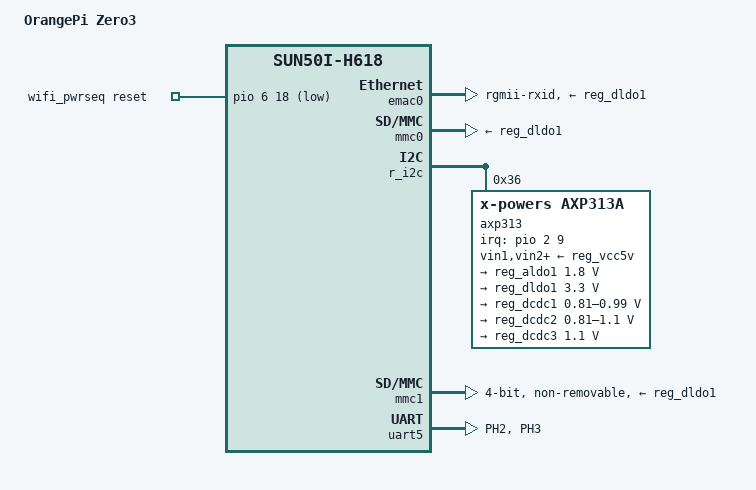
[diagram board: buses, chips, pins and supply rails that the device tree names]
// SPDX-License-Identifier: (GPL-2.0+ OR MIT)
/*
 * Copyright (C) 2023 Arm Ltd.
 */

/dts-v1/;

#include "allwinner/sun50i-h616-orangepi-zero.dtsi"
#include <dt-bindings/clock/sun6i-rtc.h>

/ {
	model = "OrangePi Zero3";
	compatible = "xunlong,orangepi-zero3", "allwinner,sun50i-h618";

	wifi_pwrseq: wifi-pwrseq {
		compatible = "mmc-pwrseq-simple";
		clocks = <&rtc CLK_OSC32K_FANOUT>;
		clock-names = "ext_clock";
		reset-gpios = <&pio 6 18 GPIO_ACTIVE_LOW>; /* PG18 */
		post-power-on-delay-ms = <200>;
	};
};

&emac0 {
	allwinner,tx-delay-ps = <700>;
	phy-mode = "rgmii-rxid";
	phy-supply = <&reg_dldo1>;
};

&ext_rgmii_phy {
	motorcomm,clk-out-frequency-hz = <125000000>;
};

&mmc0 {
	/*
	 * The schematic shows the card detect pin wired up to PF6, via an
	 * inverter, but it just doesn't work.
	 */
	broken-cd;
	vmmc-supply = <&reg_dldo1>;
};

&r_i2c {
	status = "okay";

	axp313: pmic@36 {
		compatible = "x-powers,axp313a";
		reg = <0x36>;
		#interrupt-cells = <1>;
		interrupt-controller;
		interrupt-parent = <&pio>;
		interrupts = <2 9 IRQ_TYPE_LEVEL_LOW>;	/* PC9 */

		vin1-supply = <&reg_vcc5v>;
		vin2-supply = <&reg_vcc5v>;
		vin3-supply = <&reg_vcc5v>;

		regulators {
			/* Supplies VCC-PLL, so needs to be always on. */
			reg_aldo1: aldo1 {
				regulator-always-on;
				regulator-min-microvolt = <1800000>;
				regulator-max-microvolt = <1800000>;
				regulator-name = "vcc1v8";
			};

			/* Supplies VCC-IO, so needs to be always on. */
			reg_dldo1: dldo1 {
				regulator-always-on;
				regulator-min-microvolt = <3300000>;
				regulator-max-microvolt = <3300000>;
				regulator-name = "vcc3v3";
			};

			reg_dcdc1: dcdc1 {
				regulator-always-on;
				regulator-min-microvolt = <810000>;
				regulator-max-microvolt = <990000>;
				regulator-name = "vdd-gpu-sys";
			};

			reg_dcdc2: dcdc2 {
				regulator-always-on;
				regulator-min-microvolt = <810000>;
				regulator-max-microvolt = <1100000>;
				regulator-name = "vdd-cpu";
			};

			reg_dcdc3: dcdc3 {
				regulator-always-on;
				regulator-min-microvolt = <1100000>;
				regulator-max-microvolt = <1100000>;
				regulator-name = "vdd-dram";
			};
		};
	};
};

&pio {
	vcc-pc-supply = <&reg_dldo1>;
	vcc-pf-supply = <&reg_dldo1>;
	vcc-pg-supply = <&reg_aldo1>;
	vcc-ph-supply = <&reg_dldo1>;
	vcc-pi-supply = <&reg_dldo1>;

	uart5_pins: uart5-pins {
		pins = "PH2", "PH3";
		function = "uart5";
	};
};

&mmc1 {
	vmmc-supply = <&reg_dldo1>;
	vqmmc-supply = <&reg_aldo1>;
	mmc-pwrseq = <&wifi_pwrseq>;
	bus-width = <4>;
	non-removable;
	mmc-ddr-1_8v;
	status = "okay";
};

&uart5 {
	pinctrl-names = "default";
	pinctrl-0 = <&uart5_pins>;
	status = "okay";
};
